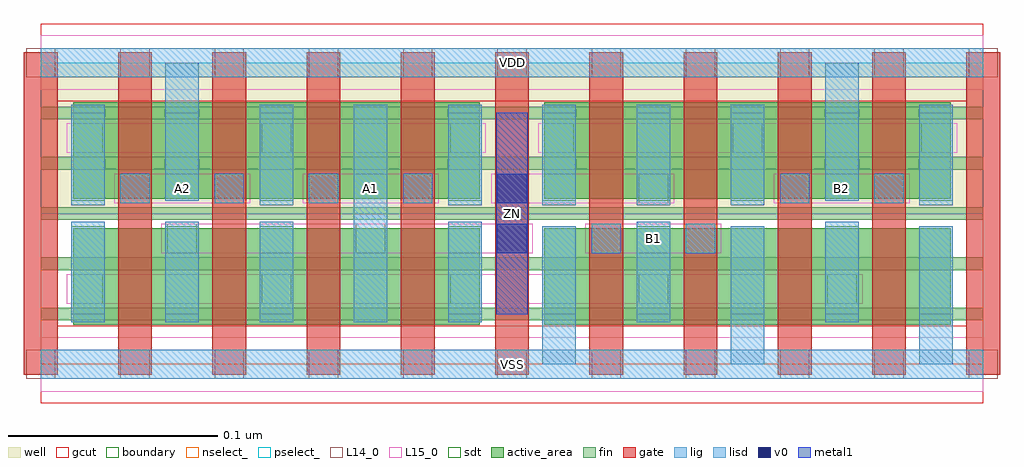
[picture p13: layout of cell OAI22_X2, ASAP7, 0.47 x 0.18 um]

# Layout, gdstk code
import gdstk
lib = gdstk.Library(unit=1e-6, precision=2.5e-10)
def R(c, l, rs):  # rectangles x0, y0, x1, y1
    for r in rs: c.add(gdstk.rectangle(r[:2], r[2:], *l))
def A(c, l, x, y, w, h, nx, ny, dx, dy):  # array of equal rectangles
    R(c, l, [(x+i*dx, y+j*dy, x+i*dx+w, y+j*dy+h) for i in range(nx) for j in range(ny)])
well = (1, 0)
fin = (2, 0)
gate = (7, 0)
gcut = (10, 0)
active_area = (11, 0)
nselect_ = (12, 0)
pselect_ = (13, 0)
L14_0 = (14, 0)
L15_0 = (15, 0)
lig = (16, 0)
lisd = (17, 0)
v0 = (18, 0)
metal1 = (19, 0)
sdt = (88, 0)
boundary = (100, 0)

oai22_x2 = lib.new_cell('OAI22_X2')
R(oai22_x2, well, [(0,0.072,0.45,0.144)])
A(oai22_x2, fin, 0, 0.021, 0.45, 0.006, 1, 5, 0, 0.024)
A(oai22_x2, gate, -0.008, -0.005, 0.016, 0.154, 11, 1, 0.045, 0)
R(oai22_x2, gcut, [(0,-0.0185,0.45,0.0185), (-0.008,-0.005,0.008,0.149), (0.442,-0.005,0.458,0.149), (0,0.1255,0.45,0.1625)])
A(oai22_x2, active_area, 0.0155, 0.019, 0.059, 0.046, 4, 2, 0.045, 0.06)
A(oai22_x2, active_area, 0.2405, 0.019, 0.059, 0.046, 4, 2, 0.045, 0.06)
R(oai22_x2, nselect_, [(0,0,0.45,0.072)])
R(oai22_x2, pselect_, [(0,0.072,0.45,0.144)])
A(oai22_x2, L14_0, -0.007, -0.007, 0.014, 0.014, 11, 2, 0.045, 0.144)
A(oai22_x2, L14_0, 0.0155, 0.029, 0.014, 0.014, 5, 1, 0.09, 0)
A(oai22_x2, L14_0, 0.038, 0.077, 0.014, 0.014, 4, 1, 0.045, 0)
A(oai22_x2, L14_0, 0.0155, 0.101, 0.014, 0.014, 3, 1, 0.09, 0)
A(oai22_x2, L14_0, 0.2405, 0.101, 0.014, 0.014, 3, 1, 0.09, 0)
R(oai22_x2, L14_0, [(0.0605,0.053,0.0745,0.067), (0.1505,0.053,0.1645,0.067), (0.263,0.053,0.277,0.067), (0.308,0.053,0.322,0.067), (0.2855,0.077,0.2995,0.091), (0.353,0.077,0.367,0.091), (0.398,0.077,0.412,0.091)])
R(oai22_x2, L15_0, [(0,-0.013,0.45,0.013), (0.0125,0.029,0.3925,0.043), (0.0575,0.053,0.235,0.067), (0.26,0.053,0.325,0.067), (0.035,0.077,0.1,0.091), (0.125,0.077,0.19,0.091), (0.215,0.077,0.3025,0.091), (0.35,0.077,0.415,0.091), (0.0125,0.101,0.2125,0.115), (0.2375,0.101,0.4375,0.115), (0,0.131,0.45,0.157)])
A(oai22_x2, lig, 0.038, 0.077, 0.014, 0.014, 4, 1, 0.045, 0)
R(oai22_x2, lig, [(0,-0.007,0.45,0.007), (0.263,0.053,0.277,0.067), (0.308,0.053,0.322,0.067), (0.353,0.077,0.367,0.091), (0.398,0.077,0.412,0.091), (0,0.137,0.45,0.151)])
A(oai22_x2, lisd, 0.1045, 0.02, 0.016, 0.048, 3, 1, 0.09, 0)
A(oai22_x2, lisd, 0.1945, 0.076, 0.016, 0.048, 3, 1, 0.045, 0)
R(oai22_x2, lisd, [(0.2395,0,0.2555,0.066), (0.3295,0,0.3455,0.066), (0.3295,0,0.3455,0.066), (0.4195,0,0.4355,0.066), (0.0145,0.02,0.0305,0.068), (0.0595,0.02,0.0755,0.068), (0.0595,0.02,0.0755,0.068), (0.1045,0.02,0.1205,0.068), (0.1495,0.02,0.1655,0.124), (0.1495,0.02,0.1655,0.124), (0.2845,0.02,0.3005,0.068), (0.3745,0.02,0.3905,0.068), (0.3745,0.02,0.3905,0.068), (0.0145,0.076,0.0305,0.124), (0.1045,0.076,0.1205,0.124), (0.1045,0.076,0.1205,0.124), (0.2845,0.076,0.3005,0.124), (0.3295,0.076,0.3455,0.124), (0.3295,0.076,0.3455,0.124), (0.4195,0.076,0.4355,0.124), (0.0595,0.078,0.0755,0.144), (0.0595,0.078,0.0755,0.144), (0.3745,0.078,0.3905,0.144), (0.3745,0.078,0.3905,0.144)])
R(oai22_x2, v0, [(0.218,0.053,0.232,0.067), (0.218,0.077,0.232,0.091)])
R(oai22_x2, metal1, [(0.2175,0.024,0.2325,0.12)])
A(oai22_x2, sdt, 0.1945, 0.024, 0.016, 0.042, 3, 2, 0.045, 0.054)
R(oai22_x2, sdt, [(0.1495,0.02,0.1655,0.124), (0.1495,0.02,0.1655,0.124), (0.0145,0.024,0.0305,0.066), (0.0595,0.024,0.0755,0.066), (0.0595,0.024,0.0755,0.066), (0.1045,0.024,0.1205,0.066), (0.1045,0.024,0.1205,0.066), (0.2845,0.024,0.3005,0.066), (0.3295,0.024,0.3455,0.066), (0.3295,0.024,0.3455,0.066), (0.3745,0.024,0.3905,0.066), (0.3745,0.024,0.3905,0.066), (0.4195,0.024,0.4355,0.066), (0.0145,0.078,0.0305,0.12), (0.0595,0.078,0.0755,0.12), (0.0595,0.078,0.0755,0.12), (0.1045,0.078,0.1205,0.12), (0.1045,0.078,0.1205,0.12), (0.2845,0.078,0.3005,0.12), (0.3295,0.078,0.3455,0.12), (0.3295,0.078,0.3455,0.12), (0.3745,0.078,0.3905,0.12), (0.3745,0.078,0.3905,0.12), (0.4195,0.078,0.4355,0.12)])
R(oai22_x2, boundary, [(0,0,0.45,0.144)])
oai22_x2.add(gdstk.Label('VDD', (0.225,0.144), layer=1, texttype=251))
oai22_x2.add(gdstk.Label('VSS', (0.225,0), layer=3, texttype=251))
oai22_x2.add(gdstk.Label('A2', (0.0675,0.084), layer=15, texttype=251))
oai22_x2.add(gdstk.Label('A1', (0.1575,0.084), layer=15, texttype=251))
oai22_x2.add(gdstk.Label('B1', (0.2925,0.06), layer=15, texttype=251))
oai22_x2.add(gdstk.Label('B2', (0.3825,0.084), layer=15, texttype=251))
oai22_x2.add(gdstk.Label('VSS', (0.225,0), layer=15, texttype=251))
oai22_x2.add(gdstk.Label('VDD', (0.225,0.144), layer=15, texttype=251))
oai22_x2.add(gdstk.Label('ZN', (0.225,0.072), layer=19, texttype=251))

lib.write_gds('OAI22_X2.gds')
